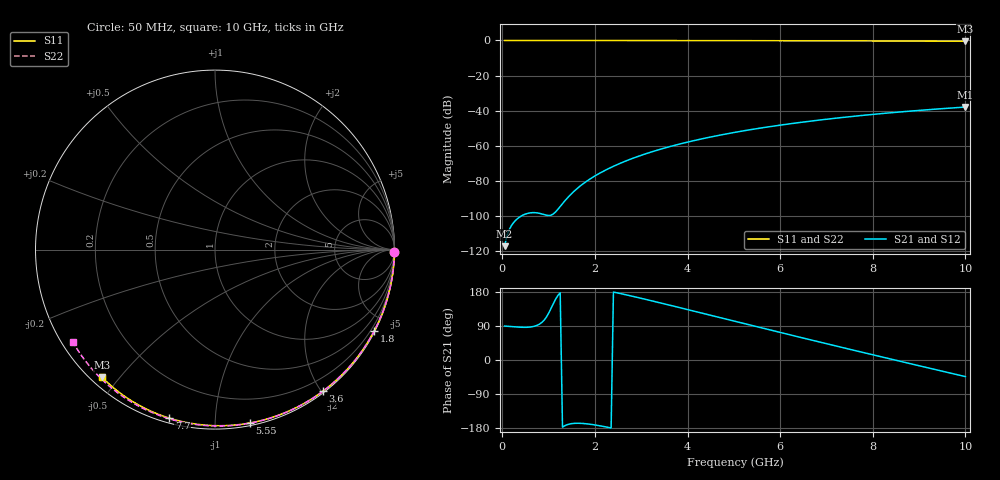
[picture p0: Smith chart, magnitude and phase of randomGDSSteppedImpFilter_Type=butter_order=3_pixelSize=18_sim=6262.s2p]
! freq	dB(S11)	phase(S11)	dB(S12)	phase(S12)
!  dB(S21)	phase(S21)	dB(S22)	phase(S22)
!S-par simulation data
#  GHz  S  DB  R 50
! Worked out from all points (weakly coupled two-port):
!   200 points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, 50 MHz to 10 GHz, reference 50 ohm
!   highest |S21| = -37.90 dB at 10 GHz (marker M1); lowest = -117.1 dB at 50 MHz (marker M2)
!   lowest |S11| = -0.4 dB at 10 GHz (marker M3), VSWR 38.77, Z = 1.55 - j22.5 ohm
!   |S11| at or under -10 dB: nowhere
!   |S22| runs from -0.5 to 0.0 dB; largest |S21 - S12| = 0
!   S11 on the Smith chart (normalised r, x): 50 MHz: open; 1.8 GHz: 0.04, -4.17; 3.6 GHz: 0.02, -2.02; 5.55 GHz: 0.02, -1.22; 7.7 GHz: 0.02, -0.77; 10 GHz: 0.03, -0.45
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0.05  -0.00 -0.8  -117.06 89.5  -117.06 89.5  -0.00 -0.9
0.45  -0.01 -6.8  -99.32 86.2  -99.32 86.2  -0.01 -7.7
0.9  -0.02 -13.6  -99.06 104.7  -99.06 104.7  -0.02 -15.3
1.3  -0.02 -19.6  -92.86 -177.2  -92.86 -177.2  -0.03 -22.0
1.75  -0.03 -26.2  -81.47 -167.6  -81.47 -167.6  -0.04 -29.4
1.8  -0.03 -27.0  -80.51 -168.1  -80.51 -168.1  -0.04 -30.2
1.85  -0.04 -27.7  -79.60 -168.8  -79.60 -168.8  -0.04 -31.1
2.05  -0.04 -30.6  -76.32 -172.4  -76.32 -172.4  -0.04 -34.3
2.2  -0.04 -32.8  -74.17 -175.7  -74.17 -175.7  -0.05 -36.8
2.55  -0.05 -37.9  -69.86 175.4  -69.86 175.4  -0.05 -42.4
2.95  -0.06 -43.6  -65.80 164.2  -65.80 164.2  -0.06 -48.8
3.4  -0.07 -49.9  -62.01 151.1  -62.01 151.1  -0.07 -55.9
3.6  -0.07 -52.7  -60.52 145.1  -60.52 145.1  -0.08 -59.0
4.3  -0.09 -62.3  -56.04 124.1  -56.04 124.1  -0.10 -69.6
5.05  -0.11 -72.3  -52.16 101.4  -52.16 101.4  -0.12 -80.6
5.55  -0.13 -78.7  -49.96 86.3  -49.96 86.3  -0.14 -87.8
6.1  -0.15 -85.7  -47.82 69.8  -47.82 69.8  -0.17 -95.5
6.7  -0.18 -93.1  -45.76 51.9  -45.76 51.9  -0.20 -103.7
7.7  -0.24 -105.1  -42.85 22.5  -42.85 22.5  -0.27 -117.1
8.35  -0.29 -112.7  -41.23 3.6  -41.23 3.6  -0.32 -125.6
9.2  -0.36 -122.5  -39.38 -20.9  -39.38 -20.9  -0.40 -136.6
10  -0.45 -131.5  -37.90 -43.8  -37.90 -43.8  -0.50 -146.9
